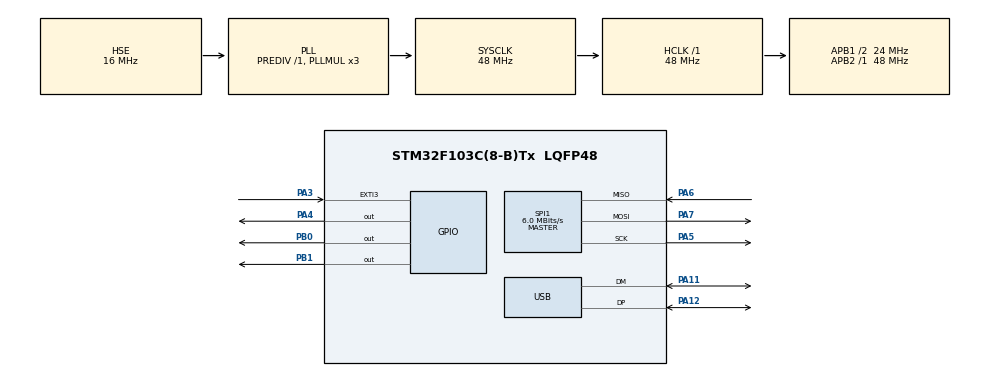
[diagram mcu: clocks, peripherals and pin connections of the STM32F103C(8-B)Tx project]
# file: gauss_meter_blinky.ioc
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Mcu.Family=STM32F1
Mcu.Name=STM32F103C(8-B)Tx
Mcu.Package=LQFP48
NVIC.EXTI3_IRQn=true\:0\:0\:false\:false\:true\:true\:true\:true
NVIC.PriorityGroup=NVIC_PRIORITYGROUP_4
NVIC.USB_HP_CAN1_TX_IRQn=true\:0\:0\:false\:false\:true\:true\:true\:true
NVIC.USB_LP_CAN1_RX0_IRQn=true\:0\:0\:false\:false\:true\:true\:true\:true
PA11.Mode=Device
PA11.Signal=USB_DM
PA12.Mode=Device
PA12.Signal=USB_DP
PA13.Mode=Serial_Wire
PA13.Signal=SYS_JTMS-SWDIO
PA14.Mode=Serial_Wire
PA14.Signal=SYS_JTCK-SWCLK
PA3.GPIO_ModeDefaultEXTI=GPIO_MODE_IT_FALLING
PA3.Signal=GPXTI3
PA4.PinState=GPIO_PIN_SET
PA4.Signal=GPIO_Output
PA5.Mode=Full_Duplex_Master
PA5.Signal=SPI1_SCK
PA6.Mode=Full_Duplex_Master
PA6.Signal=SPI1_MISO
PA7.Mode=Full_Duplex_Master
PA7.Signal=SPI1_MOSI
PB0.Signal=GPIO_Output
PB1.Signal=GPIO_Output
PD0-OSC_IN.Mode=HSE-External-Oscillator
PD0-OSC_IN.Signal=RCC_OSC_IN
PD1-OSC_OUT.Mode=HSE-External-Oscillator
PD1-OSC_OUT.Signal=RCC_OSC_OUT
ProjectManager.HeapSize=0x200
ProjectManager.StackSize=0x400
ProjectManager.TargetToolchain=CMake
RCC.AHBFreq_Value=48000000
RCC.APB1CLKDivider=RCC_HCLK_DIV2
RCC.APB1Freq_Value=24000000
RCC.APB1TimFreq_Value=48000000
RCC.APB2Freq_Value=48000000
RCC.APB2TimFreq_Value=48000000
RCC.HCLKFreq_Value=48000000
RCC.HSE_VALUE=16000000
RCC.PLLMUL=RCC_PLL_MUL3
RCC.PLLSourceVirtual=RCC_PLLSOURCE_HSE
RCC.SYSCLKFreq_VALUE=48000000
RCC.SYSCLKSource=RCC_SYSCLKSOURCE_PLLCLK
RCC.USBFreq_Value=48000000
SPI1.BaudRatePrescaler=SPI_BAUDRATEPRESCALER_8
SPI1.CRCCalculation=SPI_CRCCALCULATION_DISABLE
SPI1.CalculateBaudRate=6.0 MBits/s
SPI1.Direction=SPI_DIRECTION_2LINES
SPI1.Mode=SPI_MODE_MASTER
SPI1.VirtualType=VM_MASTER
USB_DEVICE.CLASS_NAME_FS=CDC
USB_DEVICE.VirtualMode=Cdc
USB_DEVICE.VirtualModeFS=Cdc_FS
VP_USB_DEVICE_VS_USB_DEVICE_CDC_FS.Mode=CDC_FS
board=custom

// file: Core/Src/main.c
/* USER CODE BEGIN Header */
/**
  ******************************************************************************
  * @file           : main.c
  * @brief          : Main program body
  ******************************************************************************
  * @attention
  *
  * Copyright (c) 2026 STMicroelectronics.
  * All rights reserved.
  *
  * This software is licensed under terms that can be found in the LICENSE file
  * in the root directory of this software component.
  * If no LICENSE file comes with this software, it is provided AS-IS.
  *
  ******************************************************************************
  */
/* USER CODE END Header */
#include "main.h"
#include "usb_device.h"

/* USER CODE BEGIN Includes */
#include "usbd_cdc_if.h"
#include "app_main.h"
/* USER CODE END Includes */

/* USER CODE BEGIN PD */
#define USB_BUF_LEN 128
/* USER CODE END PD */

SPI_HandleTypeDef hspi1;

/* USER CODE BEGIN PV */
uint8_t usb_tx_buf[USB_BUF_LEN];
uint16_t usb_tx_buf_len;

uint8_t usb_rx_buf[USB_BUF_LEN];
uint16_t usb_rx_buf_len;
uint8_t usb_rx_flag = 0;

volatile uint8_t alert_flag = 0;
/* USER CODE END PV */

void SystemClock_Config(void);
static void MX_GPIO_Init(void);
static void MX_SPI1_Init(void);
/* USER CODE BEGIN PFP */
void USB_RXCallback(uint8_t *buf, uint32_t *len) {
  memcpy(usb_rx_buf, buf, *len);
  if(*len <= USB_BUF_LEN) {
    usb_rx_buf[*len] = 0x00;
  }
  usb_rx_buf_len = *len;
  usb_rx_flag = 1;
}
/* USER CODE END PFP */

int main(void)
{

  /* MCU Configuration--------------------------------------------------------*/

  /* Reset of all peripherals, Initializes the Flash interface and the Systick. */
  HAL_Init();

  /* Configure the system clock */
  SystemClock_Config();

  /* Initialize all configured peripherals */
  MX_GPIO_Init();
  MX_SPI1_Init();
  MX_USB_DEVICE_Init();
  /* USER CODE BEGIN 2 */
  app_main(); // actual main function
  /* USER CODE END 2 */

  /* Infinite loop */
  /* USER CODE BEGIN WHILE */
  while (1)
  {
    // usb_tx_buf_len = snprintf((char*)usb_tx_buf, USB_BUF_LEN, "%lu\r\n", HAL_GetTick());
    // CDC_Transmit_FS(usb_tx_buf, usb_tx_buf_len);

    // HAL_Delay(1000);

    // if(usb_rx_flag) {
    //   HAL_GPIO_WritePin(GPIOB, GPIO_PIN_0, GPIO_PIN_SET);
    //   usb_tx_buf_len = snprintf((char*)usb_tx_buf, USB_BUF_LEN, "%lu %s\r\n", HAL_GetTick(), (char*)usb_rx_buf);
    //   CDC_Transmit_FS(usb_tx_buf, usb_tx_buf_len);

    //   usb_rx_flag = 0;
    //   usb_rx_buf_len = 0;

    //   HAL_Delay(500);
    //   HAL_GPIO_WritePin(GPIOB, GPIO_PIN_0, GPIO_PIN_RESET);
    // }
    /* USER CODE END WHILE */

  }
}

void SystemClock_Config(void)
{
  RCC_OscInitTypeDef RCC_OscInitStruct = {0};
  RCC_ClkInitTypeDef RCC_ClkInitStruct = {0};
  RCC_PeriphCLKInitTypeDef PeriphClkInit = {0};

  /** Initializes the RCC Oscillators according to the specified parameters
  * in the RCC_OscInitTypeDef structure.
  */
  RCC_OscInitStruct.OscillatorType = RCC_OSCILLATORTYPE_HSE;
  RCC_OscInitStruct.HSEState = RCC_HSE_ON;
  RCC_OscInitStruct.HSEPredivValue = RCC_HSE_PREDIV_DIV1;
  RCC_OscInitStruct.HSIState = RCC_HSI_ON;
  RCC_OscInitStruct.PLL.PLLState = RCC_PLL_ON;
  RCC_OscInitStruct.PLL.PLLSource = RCC_PLLSOURCE_HSE;
  RCC_OscInitStruct.PLL.PLLMUL = RCC_PLL_MUL3;
  if (HAL_RCC_OscConfig(&RCC_OscInitStruct) != HAL_OK)
  {
    Error_Handler();
  }

  /** Initializes the CPU, AHB and APB buses clocks
  */
  RCC_ClkInitStruct.ClockType = RCC_CLOCKTYPE_HCLK|RCC_CLOCKTYPE_SYSCLK
                              |RCC_CLOCKTYPE_PCLK1|RCC_CLOCKTYPE_PCLK2;
  RCC_ClkInitStruct.SYSCLKSource = RCC_SYSCLKSOURCE_PLLCLK;
  RCC_ClkInitStruct.AHBCLKDivider = RCC_SYSCLK_DIV1;
  RCC_ClkInitStruct.APB1CLKDivider = RCC_HCLK_DIV2;
  RCC_ClkInitStruct.APB2CLKDivider = RCC_HCLK_DIV1;

  if (HAL_RCC_ClockConfig(&RCC_ClkInitStruct, FLASH_LATENCY_1) != HAL_OK)
  {
    Error_Handler();
  }
  PeriphClkInit.PeriphClockSelection = RCC_PERIPHCLK_USB;
  PeriphClkInit.UsbClockSelection = RCC_USBCLKSOURCE_PLL;
  if (HAL_RCCEx_PeriphCLKConfig(&PeriphClkInit) != HAL_OK)
  {
    Error_Handler();
  }
}

static void MX_SPI1_Init(void)
{

  /* SPI1 parameter configuration*/
  hspi1.Instance = SPI1;
  hspi1.Init.Mode = SPI_MODE_MASTER;
  hspi1.Init.Direction = SPI_DIRECTION_2LINES;
  hspi1.Init.DataSize = SPI_DATASIZE_8BIT;
  hspi1.Init.CLKPolarity = SPI_POLARITY_LOW;
  hspi1.Init.CLKPhase = SPI_PHASE_1EDGE;
  hspi1.Init.NSS = SPI_NSS_SOFT;
  hspi1.Init.BaudRatePrescaler = SPI_BAUDRATEPRESCALER_8;
  hspi1.Init.FirstBit = SPI_FIRSTBIT_MSB;
  hspi1.Init.TIMode = SPI_TIMODE_DISABLE;
  hspi1.Init.CRCCalculation = SPI_CRCCALCULATION_DISABLE;
  hspi1.Init.CRCPolynomial = 10;
  if (HAL_SPI_Init(&hspi1) != HAL_OK)
  {
    Error_Handler();
  }

}

static void MX_GPIO_Init(void)
{
  GPIO_InitTypeDef GPIO_InitStruct = {0};

  /* GPIO Ports Clock Enable */
  __HAL_RCC_GPIOD_CLK_ENABLE();
  __HAL_RCC_GPIOA_CLK_ENABLE();
  __HAL_RCC_GPIOB_CLK_ENABLE();

  /*Configure GPIO pin Output Level */
  HAL_GPIO_WritePin(GPIOA, GPIO_PIN_4, GPIO_PIN_SET);

  /*Configure GPIO pin Output Level */
  HAL_GPIO_WritePin(GPIOB, GPIO_PIN_0|GPIO_PIN_1, GPIO_PIN_RESET);

  /*Configure GPIO pin : PA3 */
  GPIO_InitStruct.Pin = GPIO_PIN_3;
  GPIO_InitStruct.Mode = GPIO_MODE_IT_FALLING;
  GPIO_InitStruct.Pull = GPIO_NOPULL;
  HAL_GPIO_Init(GPIOA, &GPIO_InitStruct);

  /*Configure GPIO pin : PA4 */
  GPIO_InitStruct.Pin = GPIO_PIN_4;
  GPIO_InitStruct.Mode = GPIO_MODE_OUTPUT_PP;
  GPIO_InitStruct.Pull = GPIO_NOPULL;
  GPIO_InitStruct.Speed = GPIO_SPEED_FREQ_LOW;
  HAL_GPIO_Init(GPIOA, &GPIO_InitStruct);

  /*Configure GPIO pins : PB0 PB1 */
  GPIO_InitStruct.Pin = GPIO_PIN_0|GPIO_PIN_1;
  GPIO_InitStruct.Mode = GPIO_MODE_OUTPUT_PP;
  GPIO_InitStruct.Pull = GPIO_NOPULL;
  GPIO_InitStruct.Speed = GPIO_SPEED_FREQ_LOW;
  HAL_GPIO_Init(GPIOB, &GPIO_InitStruct);

  /* EXTI interrupt init*/
  HAL_NVIC_SetPriority(EXTI3_IRQn, 0, 0);
  HAL_NVIC_EnableIRQ(EXTI3_IRQn);

}

/* USER CODE BEGIN 4 */
void HAL_GPIO_EXTI_Callback(uint16_t GPIO_Pin) {
  if(GPIO_Pin == GPIO_PIN_3) {
    alert_flag = 1;
  } else {
    __NOP();
  }
}
/* USER CODE END 4 */

void Error_Handler(void)
{
  __disable_irq();
  while (1)
  {
  }
}
